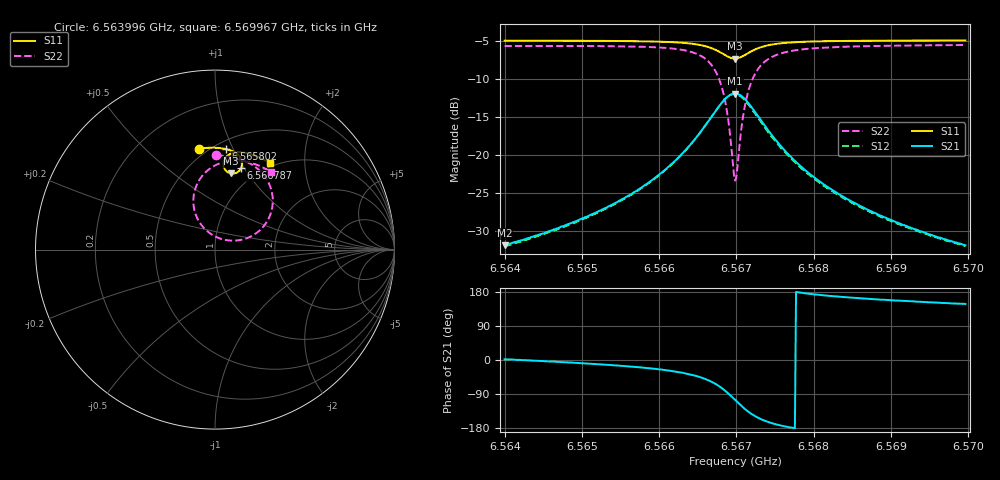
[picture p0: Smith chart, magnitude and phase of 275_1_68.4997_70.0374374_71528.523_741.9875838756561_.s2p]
#  HZ  S  RI  R  50.00
! Rohde & Schwarz Vector Network Analyzer
! Rohde-Schwarz,ZNB20-2Port,1311601062101988,3.16
! Created: UTC 3/20/2024, 5:00:55 PM
! freq[Hz]  re:S11  im:S11  re:S21  im:S21  re:S12  im:S12  re:S22  im:S22
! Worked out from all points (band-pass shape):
!   401 points, 6.563996 GHz to 6.569967 GHz, reference 50 ohm
!   highest |S21| = -11.86 dB at 6.566981 GHz (marker M1); lowest = -31.9 dB at 6.563996 GHz (marker M2)
!   |S21| within 3 dB of the highest: 6.566682 GHz to 6.56728 GHz (597.4 kHz wide, 0.0091 % of centre)
!   lowest |S11| = -7.3 dB at 6.566981 GHz (marker M3), VSWR 2.53, Z = 40.1 + j41.9 ohm
!   |S11| at or under -10 dB: nowhere
!   |S22| runs from -23.4 to -5.5 dB; largest |S21 - S12| = 0.012
!   S11 on the Smith chart (normalised r, x): 6.563996 GHz: 0.45, +0.75; 6.565802 GHz: 0.57, +0.94; 6.566787 GHz: 0.82, +0.97; 6.569967 GHz: 0.95, +1.35
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6.5639955e9  -0.0904 0.5619  0.0254 0.000858  0.0251 0.000433  0.00779 0.5246
6.5649957e9  -0.01 0.5679  0.0377 -0.00565  0.0369 -0.00618  0.0983 0.5155
6.5658019e9  0.0617 0.5602  0.059 -0.022  0.0579 -0.0225  0.192 0.4816
6.5659959e9  0.0811 0.5549  0.0675 -0.0306  0.0665 -0.0315  0.221 0.4635
6.5663094e9  0.115 0.5385  0.0861 -0.0582  0.0847 -0.0593  0.2764 0.4092
6.5665483e9  0.1416 0.5112  0.0998 -0.1054  0.0976 -0.1074  0.3173 0.318
6.5666826e9  0.1507 0.4838  0.0958 -0.1532  0.0921 -0.1559  0.3173 0.2267
6.5667871e9  0.1463 0.4552  0.0706 -0.2023  0.0644 -0.2048  0.2745 0.1344
6.5668767e9  0.1269 0.432  0.0202 -0.2402  0.0112 -0.2406  0.1837 0.066
6.5669514e9  0.0996 0.4234  -0.0411 -0.2505  -0.0513 -0.2472  0.0744 0.0513
6.5669812e9  0.0876 0.4245  -0.067 -0.2462  -0.0769 -0.241  0.0293 0.0614
6.5670111e9  0.0762 0.4285  -0.0915 -0.2368  -0.1007 -0.2299  -0.0125 0.0806
6.5670708e9  0.0581 0.443  -0.1315 -0.2059  -0.1378 -0.1968  -0.0776 0.1393
6.5671305e9  0.0484 0.4622  -0.1553 -0.1674  -0.1584 -0.1575  -0.1121 0.2095
6.5671902e9  0.0467 0.4813  -0.1643 -0.1295  -0.1649 -0.1204  -0.1207 0.2763
6.5672649e9  0.0522 0.5013  -0.1616 -0.0903  -0.1604 -0.0826  -0.1083 0.3439
6.5673843e9  0.0689 0.5226  -0.1444 -0.0476  -0.1418 -0.0426  -0.0675 0.415
6.5675336e9  0.0918 0.5359  -0.12 -0.0191  -0.1173 -0.0159  -0.0138 0.4612
6.5679814e9  0.1483 0.542  -0.0727 0.00789  -0.0709 0.00894  0.0996 0.496
6.5684442e9  0.1928 0.5334  -0.0494 0.013  -0.0483 0.0136  0.1702 0.4911
6.5689816e9  0.2369 0.5178  -0.0349 0.0141  -0.0342 0.0143  0.2286 0.4745
6.5699669e9  0.3073 0.4811  -0.0215 0.0136  -0.0211 0.0136  0.3092 0.4339
